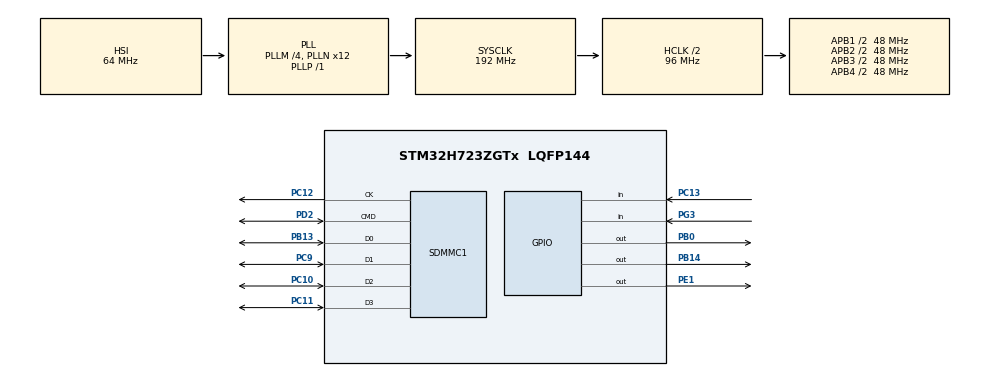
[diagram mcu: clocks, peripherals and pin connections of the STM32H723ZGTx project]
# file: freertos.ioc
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CORTEX_M7.default_mode_Activation=1
FATFS.BSP.number=1
FATFS0.BSP.STBoard=false
FATFS0.BSP.api=Unknown
FATFS0.BSP.instance=PG3
FATFS0.BSP.ip=GPIO
FATFS0.BSP.mode=Input
FATFS0.BSP.name=Detect_SDIO
FATFS0.BSP.solution=PG3
FREERTOS.Tasks01=defaultTask,0,128,StartDefaultTask,Default,NULL,Dynamic,NULL,NULL;blinkLED,-3,128,StartBlinkLED,Default,NULL,Dynamic,NULL,NULL
Mcu.Family=STM32H7
Mcu.Name=STM32H723ZGTx
Mcu.Package=LQFP144
NUCLEO-H723ZG.BUTTON=1
NUCLEO-H723ZG.Bsp_Common_DEMO=true
NUCLEO-H723ZG.LD1=true
NUCLEO-H723ZG.LD2=true
NUCLEO-H723ZG.LD3=true
NUCLEO-H723ZG.VCP=true
NVIC.EXTI15_10_IRQn=true\:5\:0\:false\:false\:true\:true\:false\:true\:true
NVIC.PriorityGroup=NVIC_PRIORITYGROUP_4
NVIC.SDMMC1_IRQn=true\:5\:0\:false\:false\:true\:true\:true\:true\:true
PA13(JTMS/SWDIO).GPIO_Label=SWDIO
PA13(JTMS/SWDIO).Signal=DEBUG_JTMS-SWDIO
PA14(JTCK/SWCLK).GPIO_Label=SWCLK
PA14(JTCK/SWCLK).Signal=DEBUG_JTCK-SWCLK
PB0.Signal=GPIO_Output
PB13.Mode=SD_4_bits_Wide_bus
PB13.Signal=SDMMC1_D0
PB14.Signal=GPIO_Output
PC10.Mode=SD_4_bits_Wide_bus
PC10.Signal=SDMMC1_D2
PC11.Mode=SD_4_bits_Wide_bus
PC11.Signal=SDMMC1_D3
PC12.Mode=SD_4_bits_Wide_bus
PC12.Signal=SDMMC1_CK
PC13.Signal=GPIO_Input
PC14-OSC32_IN.Signal=RCC_OSC32_IN
PC15-OSC32_OUT.Signal=RCC_OSC32_OUT
PC9.Mode=SD_4_bits_Wide_bus
PC9.Signal=SDMMC1_D1
PD2.Mode=SD_4_bits_Wide_bus
PD2.Signal=SDMMC1_CMD
PD8.Signal=USART3_TX
PD9.Signal=USART3_RX
PE1.Signal=GPIO_Output
PG3.Signal=GPIO_Input
ProjectManager.HeapSize=0x400
ProjectManager.StackSize=0x800
ProjectManager.TargetToolchain=STM32CubeIDE
RCC.ADCFreq_Value=608000000
RCC.APB1Freq_Value=48000000
RCC.APB2Freq_Value=48000000
RCC.APB3Freq_Value=48000000
RCC.APB4Freq_Value=48000000
RCC.CortexFreq_Value=192000000
RCC.D1PPRE=RCC_APB3_DIV2
RCC.D2PPRE1=RCC_APB1_DIV2
RCC.D2PPRE2=RCC_APB2_DIV2
RCC.D3PPRE=RCC_APB4_DIV2
RCC.DIVM1=4
RCC.DIVM2=1
RCC.DIVN1=12
RCC.DIVN2=19
RCC.DIVP1=1
RCC.DIVQ1=4
RCC.HCLKFreq_Value=96000000
RCC.HPRE=RCC_HCLK_DIV2
RCC.HSE_VALUE=8000000
RCC.PLLFRACN=0
RCC.SYSCLKFreq_VALUE=192000000
RCC.SYSCLKSource=RCC_SYSCLKSOURCE_PLLCLK
RCC.USBCLockSelection=RCC_USBCLKSOURCE_HSI48
RCC.USBFreq_Value=48000000
VP_FATFS_VS_SDIO.Mode=SDIO
VP_FREERTOS_VS_CMSIS_V1.Mode=CMSIS_V1
VP_MEMORYMAP_VS_MEMORYMAP.Mode=CurAppReg
VP_NUCLEO-H723ZG_VS_BSP_COMMON.Mode=COMMON
board=NUCLEO-H723ZG

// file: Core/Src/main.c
/* USER CODE BEGIN Header */
/**
  ******************************************************************************
  * @file           : main.c
  * @brief          : Main program body
  ******************************************************************************
  * @attention
  *
  * Copyright (c) 2025 STMicroelectronics.
  * All rights reserved.
  *
  * This software is licensed under terms that can be found in the LICENSE file
  * in the root directory of this software component.
  * If no LICENSE file comes with this software, it is provided AS-IS.
  *
  ******************************************************************************
  */
/* USER CODE END Header */
#include "main.h"
#include "cmsis_os.h"
#include "fatfs.h"
#include "memorymap.h"
#include "sdmmc.h"
#include "gpio.h"

COM_InitTypeDef BspCOMInit;
__IO uint32_t BspButtonState = BUTTON_RELEASED;

void SystemClock_Config(void);
static void MPU_Config(void);
void MX_FREERTOS_Init(void);

int main(void)
{

  /* MPU Configuration--------------------------------------------------------*/
  MPU_Config();

  /* MCU Configuration--------------------------------------------------------*/

  /* Reset of all peripherals, Initializes the Flash interface and the Systick. */
  HAL_Init();

  /* Configure the system clock */
  SystemClock_Config();

  /* Initialize all configured peripherals */
  MX_GPIO_Init();
  MX_SDMMC1_SD_Init();
  MX_FATFS_Init();

  /* Call init function for freertos objects (in cmsis_os2.c) */
  MX_FREERTOS_Init();

  /* Initialize leds */
  BSP_LED_Init(LED_GREEN);
  BSP_LED_Init(LED_YELLOW);
  BSP_LED_Init(LED_RED);

  /* Initialize USER push-button, will be used to trigger an interrupt each time it's pressed.*/
  BSP_PB_Init(BUTTON_USER, BUTTON_MODE_EXTI);

  /* Initialize COM1 port (115200, 8 bits (7-bit data + 1 stop bit), no parity */
  BspCOMInit.BaudRate   = 115200;
  BspCOMInit.WordLength = COM_WORDLENGTH_8B;
  BspCOMInit.StopBits   = COM_STOPBITS_1;
  BspCOMInit.Parity     = COM_PARITY_NONE;
  BspCOMInit.HwFlowCtl  = COM_HWCONTROL_NONE;
  if (BSP_COM_Init(COM1, &BspCOMInit) != BSP_ERROR_NONE)
  {
    Error_Handler();
  }

  /* USER CODE BEGIN BSP */

  /* -- Sample board code to send message over COM1 port ---- */
  printf("Welcome to STM32 world !\n\r");

  /* -- Sample board code to switch on leds ---- */
  BSP_LED_On(LED_GREEN);
  BSP_LED_On(LED_YELLOW);
  BSP_LED_On(LED_RED);

  /* USER CODE END BSP */

  /* Start scheduler */
  osKernelStart();

  /* We should never get here as control is now taken by the scheduler */

  /* Infinite loop */
  /* USER CODE BEGIN WHILE */
  while (1)
  {

    /* -- Sample board code for User push-button in interrupt mode ---- */
    if (BspButtonState == BUTTON_PRESSED)
    {
      /* Update button state */
      BspButtonState = BUTTON_RELEASED;
      /* -- Sample board code to toggle leds ---- */
      BSP_LED_Toggle(LED_GREEN);
      BSP_LED_Toggle(LED_YELLOW);
      BSP_LED_Toggle(LED_RED);

      /* ..... Perform your action ..... */
    }
    /* USER CODE END WHILE */

  }
}

void SystemClock_Config(void)
{
  RCC_OscInitTypeDef RCC_OscInitStruct = {0};
  RCC_ClkInitTypeDef RCC_ClkInitStruct = {0};

  /** Supply configuration update enable
  */
  HAL_PWREx_ConfigSupply(PWR_LDO_SUPPLY);

  /** Configure the main internal regulator output voltage
  */
  __HAL_PWR_VOLTAGESCALING_CONFIG(PWR_REGULATOR_VOLTAGE_SCALE2);

  while(!__HAL_PWR_GET_FLAG(PWR_FLAG_VOSRDY)) {}

  /** Initializes the RCC Oscillators according to the specified parameters
  * in the RCC_OscInitTypeDef structure.
  */
  RCC_OscInitStruct.OscillatorType = RCC_OSCILLATORTYPE_HSI;
  RCC_OscInitStruct.HSIState = RCC_HSI_DIV1;
  RCC_OscInitStruct.HSICalibrationValue = 64;
  RCC_OscInitStruct.PLL.PLLState = RCC_PLL_ON;
  RCC_OscInitStruct.PLL.PLLSource = RCC_PLLSOURCE_HSI;
  RCC_OscInitStruct.PLL.PLLM = 4;
  RCC_OscInitStruct.PLL.PLLN = 12;
  RCC_OscInitStruct.PLL.PLLP = 1;
  RCC_OscInitStruct.PLL.PLLQ = 4;
  RCC_OscInitStruct.PLL.PLLR = 2;
  RCC_OscInitStruct.PLL.PLLRGE = RCC_PLL1VCIRANGE_3;
  RCC_OscInitStruct.PLL.PLLVCOSEL = RCC_PLL1VCOWIDE;
  RCC_OscInitStruct.PLL.PLLFRACN = 0;
  if (HAL_RCC_OscConfig(&RCC_OscInitStruct) != HAL_OK)
  {
    Error_Handler();
  }

  /** Initializes the CPU, AHB and APB buses clocks
  */
  RCC_ClkInitStruct.ClockType = RCC_CLOCKTYPE_HCLK|RCC_CLOCKTYPE_SYSCLK
                              |RCC_CLOCKTYPE_PCLK1|RCC_CLOCKTYPE_PCLK2
                              |RCC_CLOCKTYPE_D3PCLK1|RCC_CLOCKTYPE_D1PCLK1;
  RCC_ClkInitStruct.SYSCLKSource = RCC_SYSCLKSOURCE_PLLCLK;
  RCC_ClkInitStruct.SYSCLKDivider = RCC_SYSCLK_DIV1;
  RCC_ClkInitStruct.AHBCLKDivider = RCC_HCLK_DIV2;
  RCC_ClkInitStruct.APB3CLKDivider = RCC_APB3_DIV2;
  RCC_ClkInitStruct.APB1CLKDivider = RCC_APB1_DIV2;
  RCC_ClkInitStruct.APB2CLKDivider = RCC_APB2_DIV2;
  RCC_ClkInitStruct.APB4CLKDivider = RCC_APB4_DIV2;

  if (HAL_RCC_ClockConfig(&RCC_ClkInitStruct, FLASH_LATENCY_1) != HAL_OK)
  {
    Error_Handler();
  }
}

 /* MPU Configuration */

void MPU_Config(void)
{
  MPU_Region_InitTypeDef MPU_InitStruct = {0};

  /* Disables the MPU */
  HAL_MPU_Disable();

  /** Initializes and configures the Region and the memory to be protected
  */
  MPU_InitStruct.Enable = MPU_REGION_ENABLE;
  MPU_InitStruct.Number = MPU_REGION_NUMBER0;
  MPU_InitStruct.BaseAddress = 0x0;
  MPU_InitStruct.Size = MPU_REGION_SIZE_4GB;
  MPU_InitStruct.SubRegionDisable = 0x87;
  MPU_InitStruct.TypeExtField = MPU_TEX_LEVEL0;
  MPU_InitStruct.AccessPermission = MPU_REGION_NO_ACCESS;
  MPU_InitStruct.DisableExec = MPU_INSTRUCTION_ACCESS_DISABLE;
  MPU_InitStruct.IsShareable = MPU_ACCESS_SHAREABLE;
  MPU_InitStruct.IsCacheable = MPU_ACCESS_NOT_CACHEABLE;
  MPU_InitStruct.IsBufferable = MPU_ACCESS_NOT_BUFFERABLE;

  HAL_MPU_ConfigRegion(&MPU_InitStruct);
  /* Enables the MPU */
  HAL_MPU_Enable(MPU_PRIVILEGED_DEFAULT);

}

/**
  * @brief BSP Push Button callback
  * @param Button Specifies the pressed button
  * @retval None
  */
void BSP_PB_Callback(Button_TypeDef Button)
{
  if (Button == BUTTON_USER)
  {
    BspButtonState = BUTTON_PRESSED;
  }
}

void Error_Handler(void)
{
  __disable_irq();
  while (1)
  {
  }
}

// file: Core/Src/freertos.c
/* USER CODE BEGIN Header */
/**
  ******************************************************************************
  * File Name          : freertos.c
  * Description        : Code for freertos applications
  ******************************************************************************
  * @attention
  *
  * Copyright (c) 2025 STMicroelectronics.
  * All rights reserved.
  *
  * This software is licensed under terms that can be found in the LICENSE file
  * in the root directory of this software component.
  * If no LICENSE file comes with this software, it is provided AS-IS.
  *
  ******************************************************************************
  */
/* USER CODE END Header */

#include "FreeRTOS.h"
#include "task.h"
#include "main.h"
#include "cmsis_os.h"

osThreadId defaultTaskHandle;
osThreadId blinkLEDHandle;

void StartDefaultTask(void const * argument);
void StartBlinkGreen(void const * argument);
void StartBlinkYellow(void const * argument);
void StartBlinkRed(void const * argument);
void MX_FREERTOS_Init(void); /* (MISRA C 2004 rule 8.1) */

/* GetIdleTaskMemory prototype (linked to static allocation support) */
void vApplicationGetIdleTaskMemory( StaticTask_t **ppxIdleTaskTCBBuffer, StackType_t **ppxIdleTaskStackBuffer, uint32_t *pulIdleTaskStackSize );

/* USER CODE BEGIN GET_IDLE_TASK_MEMORY */
static StaticTask_t xIdleTaskTCBBuffer;
static StackType_t xIdleStack[configMINIMAL_STACK_SIZE];

void vApplicationGetIdleTaskMemory( StaticTask_t **ppxIdleTaskTCBBuffer, StackType_t **ppxIdleTaskStackBuffer, uint32_t *pulIdleTaskStackSize )
{
  *ppxIdleTaskTCBBuffer = &xIdleTaskTCBBuffer;
  *ppxIdleTaskStackBuffer = &xIdleStack[0];
  *pulIdleTaskStackSize = configMINIMAL_STACK_SIZE;
  /* place for user code */
}
/* USER CODE END GET_IDLE_TASK_MEMORY */

void MX_FREERTOS_Init(void) {

  /* Create the thread(s) */
  /* definition and creation of defaultTask */
  osThreadDef(defaultTask, StartDefaultTask, osPriorityIdle, 0, 128);
  defaultTaskHandle = osThreadCreate(osThread(defaultTask), NULL);

  /* definition and creation of blinkLED */
  osThreadDef(blinkGreen, StartBlinkGreen, osPriorityLow, 0, 128);
  blinkLEDHandle = osThreadCreate(osThread(blinkGreen), NULL);

  osThreadDef(blinkYellow, StartBlinkYellow, osPriorityLow, 0, 128);
  blinkLEDHandle = osThreadCreate(osThread(blinkYellow), NULL);

  osThreadDef(blinkRed, StartBlinkRed, osPriorityLow, 0, 128);
  blinkLEDHandle = osThreadCreate(osThread(blinkRed), NULL);

}

void StartDefaultTask(void const * argument)
{
  for(;;)
  {
    osDelay(1);
  }
}

/* USER CODE BEGIN StartBlinkGreen */
/**
* @brief Function implementing the blink green led thread.
* @param argument: Not used
* @retval None
*/
/* USER CODE END StartBlinkGreen */
void StartBlinkGreen(void const * argument)
{
  /* USER CODE BEGIN StartBlinkGreen */
	while(1)
	{
		BSP_LED_Toggle(LED_GREEN);
		vTaskDelay( 250/portTICK_PERIOD_MS );
	}
  /* USER CODE END StartBlinkGreen */
}

/* USER CODE BEGIN StartBlinkYellow */
/**
* @brief Function implementing the blink yellow led thread.
* @param argument: Not used
* @retval None
*/
/* USER CODE END StartBlinkYellow */
void StartBlinkYellow(void const * argument)
{
  /* USER CODE BEGIN StartBlinkYellow */
	while(1)
	{
		BSP_LED_Toggle(LED_YELLOW);
		vTaskDelay( 500/portTICK_PERIOD_MS );
	}
  /* USER CODE END StartBlinkYellow */
}

/* USER CODE BEGIN StartBlinkRed */
/**
* @brief Function implementing the blink red led thread.
* @param argument: Not used
* @retval None
*/
/* USER CODE END StartBlinkRed */
void StartBlinkRed(void const * argument)
{
  /* USER CODE BEGIN StartBlinkRed */
	while(1)
	{
		BSP_LED_Toggle(LED_RED);
		vTaskDelay( 750/portTICK_PERIOD_MS );
	}
  /* USER CODE END StartBlinkRed */
}
